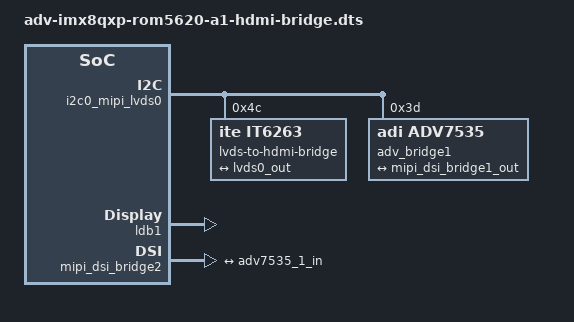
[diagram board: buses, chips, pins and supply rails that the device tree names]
/*
 * Copyright 2017-2019 Advantech
 *
 * This program is free software; you can redistribute it and/or
 * modify it under the terms of the GNU General Public License
 * as published by the Free Software Foundation; either version 2
 * of the License, or (at your option) any later version.
 *
 * This program is distributed in the hope that it will be useful,
 * but WITHOUT ANY WARRANTY; without even the implied warranty of
 * MERCHANTABILITY or FITNESS FOR A PARTICULAR PURPOSE.  See the
 * GNU General Public License for more details.
 */

#include "adv-imx8qxp-rom5620-a1.dts"

&i2c0_mipi_lvds0 {
	lvds-to-hdmi-bridge@4c {
		compatible = "ite,it6263";
		reg = <0x4c>;

		port {
			it6263_0_in: endpoint {
				clock-lanes = <4>;
				data-lanes = <0 1 2 3>;
				remote-endpoint = <&lvds0_out>;
			};
		};
	};

	adv_bridge1: adv7535@3d {
		compatible = "adi,adv7535", "adi,adv7533";
		reg = <0x3d>;
		adi,dsi-lanes = <4>;
		adi,dsi-channel = <1>;
		status = "okay";

		port {
			adv7535_1_in: endpoint {
				remote-endpoint = <&mipi_dsi_bridge1_out>;
			};
		};
	};
};

&ldb1 {
	status = "okay";

	lvds-channel@0 {
		fsl,data-mapping = "jeida";
		fsl,data-width = <24>;
		status = "okay";

		port@1 {
			reg = <1>;

			lvds0_out: endpoint {
				remote-endpoint = <&it6263_0_in>;
			};
		};
	};
};

&ldb2 {
	status = "disabled";
};

&mipi_dsi_bridge2 {
	status = "okay";

	port@1 {
		mipi_dsi_bridge1_out: endpoint {
			remote-endpoint = <&adv7535_1_in>;
		};
	};
};
